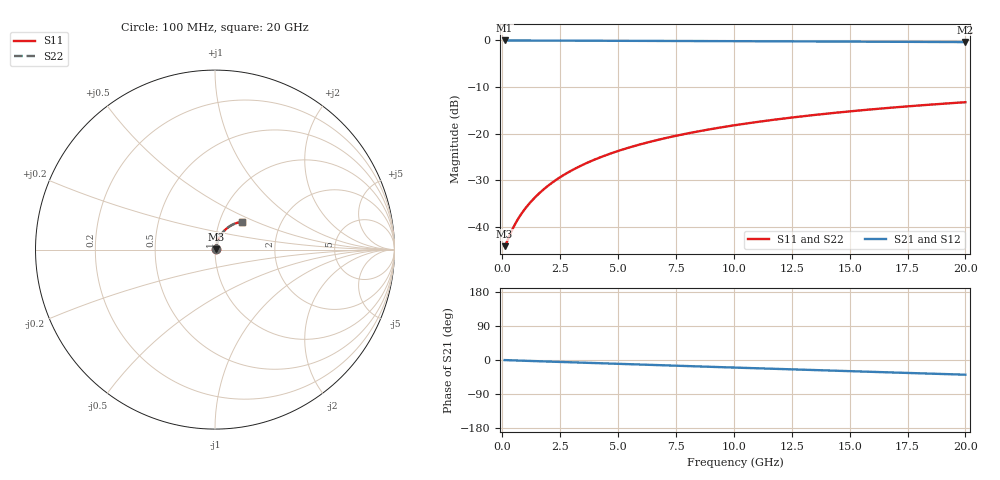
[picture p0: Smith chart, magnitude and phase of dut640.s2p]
! Touchstone file exported from HFSS 2026.1.0
!  File:  C:/ffzhzh/LocalFiles/Ansys_Project_Files/temp_train_BSMRDL_640_1783016747_4048.aedt
!  Generated:  02:27:04 AM Jul  3, 2026
!  Design:  BSMRDL
!  Project:  temp_train_BSMRDL_640_1783016747_4048
! Variables:
!  h_bsmrdl = 3.58um
!  h_ox = 20um
!  h_rdl = 5um
!  h_sub = 80um
!  h_tmrdl = 5um
!  h_tsv = 80um
!  h_via = 3um
!  l_bsmrdl = 671.02um
!  l_sub = 1071.02um
!  l_tmrdl = 200um
!  m_sub = 200um
!  pitch = 18.52um
!  r_tsv = 6um
!  s_tmrdl = 10um
!  w_bsmrdl = 11.11um
!  w_sub = 500um
!  w_tmrdl = 12um
!  x_tsv_center1 = 206um
!  x_tsv_center2 = 888.13um
!  x_tsv_center3 = 1100.13um
!  x_tsv_center4 = 1782.26um
!  x_tsv_center5 = 1994.26um
!  x_tsv_center6 = 2676.39um
# GHz S MA R 50.000000
! Terminal data exported
! Port[1] = BSM_RDL1_1_T1
! Port[2] = BSM_RDL1_1_T2
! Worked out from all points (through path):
!   200 points, 100 MHz to 20 GHz, reference 50 ohm
!   highest |S21| = -0.05 dB at 100 MHz (marker M1); lowest = -0.4 dB at 20 GHz (marker M2)
!   group delay of S21, straight-line fit = 5.37 ps
!   lowest |S11| = -44.1 dB at 100 MHz (marker M3), VSWR 1.01, Z = 50.6 + j0.163 ohm
!   |S11| at or under -10 dB: start of sweep to end of sweep
!   |S22| runs from -44.1 to -13.3 dB; largest |S21 - S12| = 3.1e-15
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0.1  0.006222 15.0  0.994 -0.2  0.994 -0.2  0.006222 15.0
! Gamma 0 0 0 0
! Port Impedance 50 0 50 0
0.2  0.006945 27.2  0.9938 -0.4  0.9938 -0.4  0.006945 27.2
0.4  0.009009 42.2  0.9934 -0.9  0.9934 -0.9  0.009008 42.2
0.5  0.01013 46.9  0.9932 -1.1  0.9932 -1.1  0.01013 46.9
0.7  0.0124 53.4  0.9928 -1.5  0.9928 -1.5  0.0124 53.4
1  0.01584 59.7  0.9924 -2.1  0.9924 -2.1  0.01584 59.7
1.2  0.01819 62.6  0.9922 -2.5  0.9922 -2.5  0.01819 62.6
1.4  0.02057 64.8  0.992 -2.9  0.992 -2.9  0.02057 64.8
1.8  0.02543 67.8  0.9917 -3.7  0.9917 -3.7  0.02543 67.8
2.3  0.03162 69.9  0.9912 -4.7  0.9912 -4.7  0.03161 70.0
2.9  0.0391 71.1  0.9905 -5.9  0.9905 -5.9  0.0391 71.2
3.5  0.04659 71.5  0.9898 -7.1  0.9898 -7.1  0.04659 71.5
4.2  0.05528 71.3  0.9888 -8.5  0.9888 -8.5  0.05528 71.3
5  0.06509 70.6  0.9875 -10.1  0.9875 -10.1  0.06509 70.7
5.9  0.07594 69.5  0.9859 -11.9  0.9859 -11.9  0.07594 69.6
6.8  0.08657 68.2  0.9841 -13.7  0.9841 -13.7  0.08656 68.3
8.3  0.1038 65.8  0.9811 -16.7  0.9811 -16.7  0.1037 65.9
10.1  0.1235 62.8  0.9771 -20.1  0.9771 -20.1  0.1235 62.8
11.7  0.1403 60.0  0.9736 -23.2  0.9736 -23.2  0.1403 60.1
13.4  0.1574 57.1  0.9697 -26.4  0.9697 -26.4  0.1574 57.1
16.7  0.1885 51.4  0.9622 -32.6  0.9622 -32.6  0.1885 51.5
20  0.2168 45.7  0.9548 -38.8  0.9548 -38.8  0.2168 45.8
